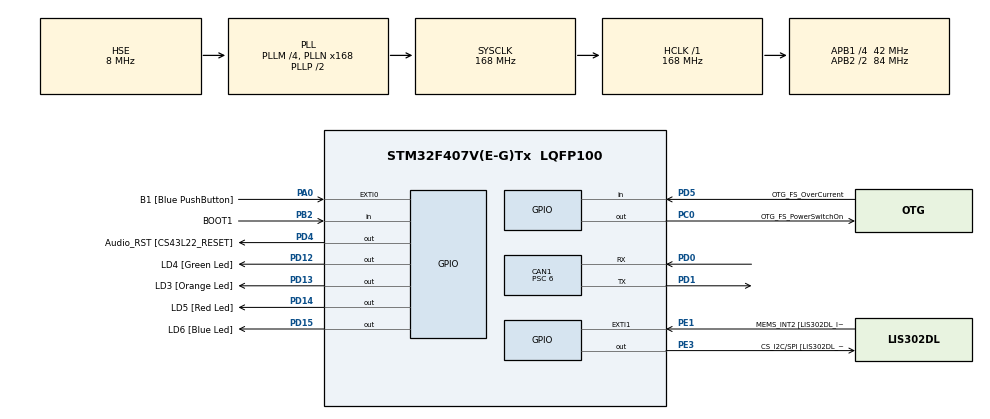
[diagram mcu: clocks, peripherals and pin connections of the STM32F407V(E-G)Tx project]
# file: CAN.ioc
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CAN1.BS1=CAN_BS1_7TQ
CAN1.BS2=CAN_BS2_6TQ
CAN1.CalculateBaudRate=500000
CAN1.CalculateTimeBit=2000
CAN1.CalculateTimeQuantum=142.85714285714286
CAN1.Prescaler=6
Mcu.Family=STM32F4
Mcu.Name=STM32F407V(E-G)Tx
Mcu.Package=LQFP100
NVIC.CAN1_RX0_IRQn=true\:0\:0\:false\:false\:true\:true\:true\:true
NVIC.PriorityGroup=NVIC_PRIORITYGROUP_0
PA0-WKUP.GPIO_Label=B1 [Blue PushButton]
PA0-WKUP.Signal=GPXTI0
PA10.GPIO_Label=OTG_FS_ID
PA10.GPIO_Mode=GPIO_MODE_AF_PP
PA10.GPIO_PuPd=GPIO_NOPULL
PA10.GPIO_Speed=GPIO_SPEED_FREQ_LOW
PA10.Signal=USB_OTG_FS_ID
PA11.GPIO_Label=OTG_FS_DM
PA11.GPIO_Mode=GPIO_MODE_AF_PP
PA11.GPIO_PuPd=GPIO_NOPULL
PA11.GPIO_Speed=GPIO_SPEED_FREQ_LOW
PA11.Signal=USB_OTG_FS_DM
PA12.GPIO_Label=OTG_FS_DP
PA12.GPIO_Mode=GPIO_MODE_AF_PP
PA12.GPIO_PuPd=GPIO_NOPULL
PA12.GPIO_Speed=GPIO_SPEED_FREQ_LOW
PA12.Signal=USB_OTG_FS_DP
PA13.GPIO_Label=SWDIO
PA13.Signal=SYS_JTMS-SWDIO
PA14.GPIO_Label=SWCLK
PA14.Signal=SYS_JTCK-SWCLK
PA4.GPIO_Label=I2S3_WS [CS43L22_LRCK]
PA4.GPIO_Mode=GPIO_MODE_AF_PP
PA4.GPIO_PuPd=GPIO_NOPULL
PA4.GPIO_Speed=GPIO_SPEED_FREQ_LOW
PA4.Signal=I2S3_WS
PA5.GPIO_Label=SPI1_SCK [LIS302DL_SCL/SPC]
PA5.GPIO_Mode=GPIO_MODE_AF_PP
PA5.GPIO_PuPd=GPIO_NOPULL
PA5.GPIO_Speed=GPIO_SPEED_FREQ_LOW
PA5.Signal=SPI1_SCK
PA6.GPIO_Label=SPI1_MISO [LIS302DL_SDO]
PA6.GPIO_Mode=GPIO_MODE_AF_PP
PA6.GPIO_PuPd=GPIO_NOPULL
PA6.GPIO_Speed=GPIO_SPEED_FREQ_LOW
PA6.Signal=SPI1_MISO
PA7.GPIO_Label=SPI1_MOSI [LIS302DL_SDA/SDI/SDO]
PA7.GPIO_Mode=GPIO_MODE_AF_PP
PA7.GPIO_PuPd=GPIO_NOPULL
PA7.GPIO_Speed=GPIO_SPEED_FREQ_LOW
PA7.Signal=SPI1_MOSI
PA9.GPIO_Label=VBUS_FS
PA9.GPIO_Mode=GPIO_MODE_INPUT
PA9.GPIO_PuPd=GPIO_NOPULL
PA9.Signal=USB_OTG_FS_VBUS
PB10.GPIO_Label=CLK_IN [MP45DT02_CLK]
PB10.GPIO_Mode=GPIO_MODE_AF_PP
PB10.GPIO_PuPd=GPIO_NOPULL
PB10.GPIO_Speed=GPIO_SPEED_FREQ_LOW
PB10.Signal=I2S2_CK
PB2.GPIO_Label=BOOT1
PB2.GPIO_Mode=GPIO_MODE_INPUT
PB2.GPIO_PuPd=GPIO_NOPULL
PB2.Signal=GPIO_Input
PB3.GPIO_Label=SWO
PB3.Signal=SYS_JTDO-SWO
PB6.GPIO_Label=Audio_SCL [CS43L22_SCL]
PB6.GPIO_Mode=GPIO_MODE_AF_OD
PB6.GPIO_PuPd=GPIO_NOPULL
PB6.GPIO_Speed=GPIO_SPEED_FREQ_LOW
PB6.Signal=I2C1_SCL
PB9.GPIO_Label=Audio_SDA [CS43L22_SDA]
PB9.GPIO_Mode=GPIO_MODE_AF_OD
PB9.GPIO_PuPd=GPIO_NOPULL
PB9.GPIO_Speed=GPIO_SPEED_FREQ_LOW
PB9.Signal=I2C1_SDA
PC0.GPIO_Label=OTG_FS_PowerSwitchOn
PC0.GPIO_PuPd=GPIO_NOPULL
PC0.GPIO_Speed=GPIO_SPEED_FREQ_LOW
PC0.PinState=GPIO_PIN_SET
PC0.Signal=GPIO_Output
PC10.GPIO_Label=I2S3_SCK [CS43L22_SCLK]
PC10.GPIO_Mode=GPIO_MODE_AF_PP
PC10.GPIO_PuPd=GPIO_NOPULL
PC10.GPIO_Speed=GPIO_SPEED_FREQ_LOW
PC10.Signal=I2S3_CK
PC12.GPIO_Label=I2S3_SD [CS43L22_SDIN]
PC12.GPIO_Mode=GPIO_MODE_AF_PP
PC12.GPIO_PuPd=GPIO_NOPULL
PC12.GPIO_Speed=GPIO_SPEED_FREQ_LOW
PC12.Signal=I2S3_SD
PC14-OSC32_IN.GPIO_Label=PC14-OSC32_IN
PC14-OSC32_IN.Signal=RCC_OSC32_IN
PC15-OSC32_OUT.GPIO_Label=PC15-OSC32_OUT
PC15-OSC32_OUT.Signal=RCC_OSC32_OUT
PC3.GPIO_Label=PDM_OUT [MP45DT02_DOUT]
PC3.GPIO_Mode=GPIO_MODE_AF_PP
PC3.GPIO_PuPd=GPIO_NOPULL
PC3.GPIO_Speed=GPIO_SPEED_FREQ_LOW
PC3.Signal=I2S2_SD
PC7.GPIO_Label=I2S3_MCK [CS43L22_MCLK]
PC7.GPIO_Mode=GPIO_MODE_AF_PP
PC7.GPIO_PuPd=GPIO_NOPULL
PC7.GPIO_Speed=GPIO_SPEED_FREQ_LOW
PC7.Signal=I2S3_MCK
PD0.Mode=CAN_Activate
PD0.Signal=CAN1_RX
PD1.Mode=CAN_Activate
PD1.Signal=CAN1_TX
PD12.GPIO_Label=LD4 [Green Led]
PD12.GPIO_PuPd=GPIO_NOPULL
PD12.GPIO_Speed=GPIO_SPEED_FREQ_LOW
PD12.Signal=GPIO_Output
PD13.GPIO_Label=LD3 [Orange Led]
PD13.GPIO_PuPd=GPIO_NOPULL
PD13.GPIO_Speed=GPIO_SPEED_FREQ_LOW
PD13.Signal=GPIO_Output
PD14.GPIO_Label=LD5 [Red Led]
PD14.GPIO_PuPd=GPIO_NOPULL
PD14.GPIO_Speed=GPIO_SPEED_FREQ_LOW
PD14.Signal=GPIO_Output
PD15.GPIO_Label=LD6 [Blue Led]
PD15.GPIO_PuPd=GPIO_NOPULL
PD15.GPIO_Speed=GPIO_SPEED_FREQ_LOW
PD15.Signal=GPIO_Output
PD4.GPIO_Label=Audio_RST [CS43L22_RESET]
PD4.GPIO_PuPd=GPIO_NOPULL
PD4.GPIO_Speed=GPIO_SPEED_FREQ_LOW
PD4.Signal=GPIO_Output
PD5.GPIO_Label=OTG_FS_OverCurrent
PD5.GPIO_Mode=GPIO_MODE_INPUT
PD5.GPIO_PuPd=GPIO_NOPULL
PD5.Signal=GPIO_Input
PE1.GPIO_Label=MEMS_INT2 [LIS302DL_INT2]
PE1.GPIO_ModeDefaultEXTI=GPIO_MODE_EVT_RISING
PE1.GPIO_PuPd=GPIO_NOPULL
PE1.Signal=GPXTI1
PE3.GPIO_Label=CS_I2C/SPI [LIS302DL_CS_I2C/SPI]
PE3.GPIO_PuPd=GPIO_NOPULL
PE3.GPIO_Speed=GPIO_SPEED_FREQ_LOW
PE3.Signal=GPIO_Output
PH0-OSC_IN.GPIO_Label=PH0-OSC_IN
PH0-OSC_IN.Mode=HSE-External-Oscillator
PH0-OSC_IN.Signal=RCC_OSC_IN
PH1-OSC_OUT.GPIO_Label=PH1-OSC_OUT
PH1-OSC_OUT.Mode=HSE-External-Oscillator
PH1-OSC_OUT.Signal=RCC_OSC_OUT
ProjectManager.HeapSize=0x200
ProjectManager.StackSize=0x400
ProjectManager.TargetToolchain=MDK-ARM V5.32
RCC.48MHZClocksFreq_Value=48000000
RCC.AHBFreq_Value=168000000
RCC.APB1CLKDivider=RCC_HCLK_DIV4
RCC.APB1Freq_Value=42000000
RCC.APB1TimFreq_Value=84000000
RCC.APB2CLKDivider=RCC_HCLK_DIV2
RCC.APB2Freq_Value=84000000
RCC.APB2TimFreq_Value=168000000
RCC.CortexFreq_Value=168000000
RCC.HCLKFreq_Value=168000000
RCC.HSE_VALUE=8000000
RCC.HSI_VALUE=16000000
RCC.LSE_VALUE=32768
RCC.PLLM=4
RCC.PLLN=168
RCC.PLLQ=7
RCC.PLLSourceVirtual=RCC_PLLSOURCE_HSE
RCC.SYSCLKFreq_VALUE=168000000
RCC.SYSCLKSource=RCC_SYSCLKSOURCE_PLLCLK
RCC.VCOOutputFreq_Value=336000000
board=STM32F407G-DISC1

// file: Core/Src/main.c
/* USER CODE BEGIN Header */
/**
  ******************************************************************************
  * @file           : main.c
  * @brief          : Main program body
  ******************************************************************************
  * @attention
  *
  * Copyright (c) 2024 STMicroelectronics.
  * All rights reserved.
  *
  * This software is licensed under terms that can be found in the LICENSE file
  * in the root directory of this software component.
  * If no LICENSE file comes with this software, it is provided AS-IS.
  *
  ******************************************************************************
  */
/* USER CODE END Header */
#include "main.h"

CAN_HandleTypeDef hcan1;

void SystemClock_Config(void);
static void MX_GPIO_Init(void);
static void MX_CAN1_Init(void);
/* USER CODE BEGIN PFP */
void ADC_Init(void);
void ADC_Enable (void);
void ADC_Start (int channel);
void ADC_WaitForConv(void);
/* USER CODE END PFP */

/* USER CODE BEGIN 0 */
CAN_TxHeaderTypeDef TxMessage;
CAN_RxHeaderTypeDef RxMessage;

uint8_t TxData[8];
uint8_t RxData[8];

uint32_t TxMailbox;

void ADC_Init (void)
{
	/************** STEPS TO FOLLOW *****************
	1. Enable ADC and GPIO clock
	2. Set the prescalar in the Common Control Register (CCR)
	3. Set the Scan Mode and Resolution in the Control Register 1 (CR1)
	4. Set the Continuous Conversion, EOC, and Data Alignment in Control Reg 2 (CR2)
	5. Set the Sampling Time for the channels in ADC_SMPRx
	6. Set the Regular channel sequence length in ADC_SQR1
	7. Set the Respective GPIO PINs in the Analog Mode
	************************************************/

//1. Enable ADC and GPIO clock
	RCC->APB2ENR |= (1<<8);  // enable ADC1 clock
	RCC->AHB1ENR |= (1<<0);  // enable GPIOA clock

//2. Set the prescalar in the Common Control Register (CCR)
	ADC->CCR |= 1<<16;  		 // PCLK2 divide by 4

//3. Set the Scan Mode and Resolution in the Control Register 1 (CR1)
	ADC1->CR1 = (1<<8);    // SCAN mode enabled
	ADC1->CR1 &= ~(1<<24);   // 12 bit RES

//4. Set the Continuous Conversion, EOC, and Data Alignment in Control Reg 2 (CR2)
	ADC1->CR2 |= (1<<1);     // enable continuous conversion mode
	ADC1->CR2 |= (1<<10);    // EOC after each conversion
	ADC1->CR2 &= ~(1<<11);   // Data Alignment RIGHT

//5. Set the Sampling Time for the channels
	ADC1->SMPR2 &= ~((1<<3));  // Sampling time of 3 cycles for channel 1
//	ADC1->SMPR2 &= ~((1<<3) | (1<<12));  // Sampling time of 3 cycles for channel 1 and channel 4

//6. Set the Regular channel sequence length in ADC_SQR1
	ADC1->SQR1 |= (1<<20);   // SQR1_L =1 for 2 conversions

//7. Set the Respective GPIO PINs in the Analog Mode
	GPIOA->MODER |= (3<<2);  // analog mode for PA 1 (chennel 1)
//	GPIOA->MODER |= (3<<8);  // analog mode for PA 4 (channel 4)
}

void ADC_Enable (void)
{
	/************** STEPS TO FOLLOW *****************
	1. Enable the ADC by setting ADON bit in CR2
	2. Wait for ADC to stabilize (approx 10us)
	************************************************/
	ADC1->CR2 |= 1<<0;   // ADON =1 enable ADC1

	uint32_t delay = 10000;
	while (delay--);
}

void ADC_Start (int channel)
{
	/************** STEPS TO FOLLOW *****************
	1. Set the channel Sequence in the SQR Register
	2. Clear the Status register
	3. Start the Conversion by Setting the SWSTART bit in CR2
	************************************************/

/**	Since we will be polling for each channel, here we will keep one channel in the sequence at a time
		ADC1->SQR3 |= (channel<<0); will just keep the respective channel in the sequence for the conversion **/

	ADC1->SQR3 = 0;
	ADC1->SQR3 |= (channel<<0);    // conversion in regular sequence

	ADC1->SR = 0;        // clear the status register

	ADC1->CR2 |= (1<<30);  // start the conversion
}

void ADC_WaitForConv (void)
{
	/*************************************************
	EOC Flag will be set, once the conversion is finished
	*************************************************/
	while (!(ADC1->SR & (1<<1)));  // wait for EOC flag to set
}

uint16_t ADC_GetVal (void)
{
	return ADC1->DR;  // Read the Data Register
}

uint16_t ADC_VAL[2] = {0,0};

/* USER CODE END 0 */

int main(void)
{

  /* MCU Configuration--------------------------------------------------------*/

  /* Reset of all peripherals, Initializes the Flash interface and the Systick. */
  HAL_Init();

  /* Configure the system clock */
  SystemClock_Config();

  /* Initialize all configured peripherals */
  MX_GPIO_Init();
  MX_CAN1_Init();
  /* USER CODE BEGIN 2 */
	ADC_Init ();
	ADC_Enable ();

	HAL_CAN_Start(&hcan1);

	HAL_CAN_ActivateNotification(&hcan1,CAN_IT_RX_FIFO0_MSG_PENDING);

	TxMessage.DLC = 3;
	TxMessage.IDE = CAN_ID_STD;
	TxMessage.RTR = CAN_RTR_DATA;
	TxMessage.StdId = 0x85;

//	TxData[0] = 42;
//	TxData[1] = 150;
//	TxData[2] = 81;
//	TxData[3] = 98;
//	TxData[4] = 178;
//	HAL_CAN_AddTxMessage(&hcan1,&TxMessage, TxData, &TxMailbox);
  /* USER CODE END 2 */

  /* Infinite loop */
  while (1)
  {
		ADC_Start (1);
		ADC_WaitForConv ();
		ADC_VAL[0] = ADC_GetVal();
		TxData[0] = ADC_VAL[0] >> 8;
		TxData[1] = ADC_VAL[0] & 0xFF;
		TxData[2] = 00;
		HAL_CAN_AddTxMessage(&hcan1,&TxMessage, TxData, &TxMailbox);
		HAL_Delay(1000);
  }
}

void SystemClock_Config(void)
{
  RCC_OscInitTypeDef RCC_OscInitStruct = {0};
  RCC_ClkInitTypeDef RCC_ClkInitStruct = {0};

  /** Configure the main internal regulator output voltage
  */
  __HAL_RCC_PWR_CLK_ENABLE();
  __HAL_PWR_VOLTAGESCALING_CONFIG(PWR_REGULATOR_VOLTAGE_SCALE1);

  /** Initializes the RCC Oscillators according to the specified parameters
  * in the RCC_OscInitTypeDef structure.
  */
  RCC_OscInitStruct.OscillatorType = RCC_OSCILLATORTYPE_HSE;
  RCC_OscInitStruct.HSEState = RCC_HSE_ON;
  RCC_OscInitStruct.PLL.PLLState = RCC_PLL_ON;
  RCC_OscInitStruct.PLL.PLLSource = RCC_PLLSOURCE_HSE;
  RCC_OscInitStruct.PLL.PLLM = 4;
  RCC_OscInitStruct.PLL.PLLN = 168;
  RCC_OscInitStruct.PLL.PLLP = RCC_PLLP_DIV2;
  RCC_OscInitStruct.PLL.PLLQ = 7;
  if (HAL_RCC_OscConfig(&RCC_OscInitStruct) != HAL_OK)
  {
    Error_Handler();
  }

  /** Initializes the CPU, AHB and APB buses clocks
  */
  RCC_ClkInitStruct.ClockType = RCC_CLOCKTYPE_HCLK|RCC_CLOCKTYPE_SYSCLK
                              |RCC_CLOCKTYPE_PCLK1|RCC_CLOCKTYPE_PCLK2;
  RCC_ClkInitStruct.SYSCLKSource = RCC_SYSCLKSOURCE_PLLCLK;
  RCC_ClkInitStruct.AHBCLKDivider = RCC_SYSCLK_DIV1;
  RCC_ClkInitStruct.APB1CLKDivider = RCC_HCLK_DIV4;
  RCC_ClkInitStruct.APB2CLKDivider = RCC_HCLK_DIV2;

  if (HAL_RCC_ClockConfig(&RCC_ClkInitStruct, FLASH_LATENCY_5) != HAL_OK)
  {
    Error_Handler();
  }
}

static void MX_CAN1_Init(void)
{

  hcan1.Instance = CAN1;
  hcan1.Init.Prescaler = 6;
  hcan1.Init.Mode = CAN_MODE_NORMAL;
  hcan1.Init.SyncJumpWidth = CAN_SJW_1TQ;
  hcan1.Init.TimeSeg1 = CAN_BS1_7TQ;
  hcan1.Init.TimeSeg2 = CAN_BS2_6TQ;
  hcan1.Init.TimeTriggeredMode = DISABLE;
  hcan1.Init.AutoBusOff = DISABLE;
  hcan1.Init.AutoWakeUp = DISABLE;
  hcan1.Init.AutoRetransmission = DISABLE;
  hcan1.Init.ReceiveFifoLocked = DISABLE;
  hcan1.Init.TransmitFifoPriority = DISABLE;
  if (HAL_CAN_Init(&hcan1) != HAL_OK)
  {
    Error_Handler();
  }

}

static void MX_GPIO_Init(void)
{
  GPIO_InitTypeDef GPIO_InitStruct = {0};

  /* GPIO Ports Clock Enable */
  __HAL_RCC_GPIOE_CLK_ENABLE();
  __HAL_RCC_GPIOC_CLK_ENABLE();
  __HAL_RCC_GPIOH_CLK_ENABLE();
  __HAL_RCC_GPIOA_CLK_ENABLE();
  __HAL_RCC_GPIOB_CLK_ENABLE();
  __HAL_RCC_GPIOD_CLK_ENABLE();

  /*Configure GPIO pin Output Level */
  HAL_GPIO_WritePin(CS_I2C_SPI_GPIO_Port, CS_I2C_SPI_Pin, GPIO_PIN_RESET);

  /*Configure GPIO pin Output Level */
  HAL_GPIO_WritePin(OTG_FS_PowerSwitchOn_GPIO_Port, OTG_FS_PowerSwitchOn_Pin, GPIO_PIN_SET);

  /*Configure GPIO pin Output Level */
  HAL_GPIO_WritePin(GPIOD, LD4_Pin|LD3_Pin|LD5_Pin|LD6_Pin
                          |Audio_RST_Pin, GPIO_PIN_RESET);

  /*Configure GPIO pin : CS_I2C_SPI_Pin */
  GPIO_InitStruct.Pin = CS_I2C_SPI_Pin;
  GPIO_InitStruct.Mode = GPIO_MODE_OUTPUT_PP;
  GPIO_InitStruct.Pull = GPIO_NOPULL;
  GPIO_InitStruct.Speed = GPIO_SPEED_FREQ_LOW;
  HAL_GPIO_Init(CS_I2C_SPI_GPIO_Port, &GPIO_InitStruct);

  /*Configure GPIO pin : OTG_FS_PowerSwitchOn_Pin */
  GPIO_InitStruct.Pin = OTG_FS_PowerSwitchOn_Pin;
  GPIO_InitStruct.Mode = GPIO_MODE_OUTPUT_PP;
  GPIO_InitStruct.Pull = GPIO_NOPULL;
  GPIO_InitStruct.Speed = GPIO_SPEED_FREQ_LOW;
  HAL_GPIO_Init(OTG_FS_PowerSwitchOn_GPIO_Port, &GPIO_InitStruct);

  /*Configure GPIO pin : PDM_OUT_Pin */
  GPIO_InitStruct.Pin = PDM_OUT_Pin;
  GPIO_InitStruct.Mode = GPIO_MODE_AF_PP;
  GPIO_InitStruct.Pull = GPIO_NOPULL;
  GPIO_InitStruct.Speed = GPIO_SPEED_FREQ_LOW;
  GPIO_InitStruct.Alternate = GPIO_AF5_SPI2;
  HAL_GPIO_Init(PDM_OUT_GPIO_Port, &GPIO_InitStruct);

  /*Configure GPIO pin : B1_Pin */
  GPIO_InitStruct.Pin = B1_Pin;
  GPIO_InitStruct.Mode = GPIO_MODE_IT_RISING;
  GPIO_InitStruct.Pull = GPIO_NOPULL;
  HAL_GPIO_Init(B1_GPIO_Port, &GPIO_InitStruct);

  /*Configure GPIO pin : I2S3_WS_Pin */
  GPIO_InitStruct.Pin = I2S3_WS_Pin;
  GPIO_InitStruct.Mode = GPIO_MODE_AF_PP;
  GPIO_InitStruct.Pull = GPIO_NOPULL;
  GPIO_InitStruct.Speed = GPIO_SPEED_FREQ_LOW;
  GPIO_InitStruct.Alternate = GPIO_AF6_SPI3;
  HAL_GPIO_Init(I2S3_WS_GPIO_Port, &GPIO_InitStruct);

  /*Configure GPIO pins : SPI1_SCK_Pin SPI1_MISO_Pin SPI1_MOSI_Pin */
  GPIO_InitStruct.Pin = SPI1_SCK_Pin|SPI1_MISO_Pin|SPI1_MOSI_Pin;
  GPIO_InitStruct.Mode = GPIO_MODE_AF_PP;
  GPIO_InitStruct.Pull = GPIO_NOPULL;
  GPIO_InitStruct.Speed = GPIO_SPEED_FREQ_LOW;
  GPIO_InitStruct.Alternate = GPIO_AF5_SPI1;
  HAL_GPIO_Init(GPIOA, &GPIO_InitStruct);

  /*Configure GPIO pin : BOOT1_Pin */
  GPIO_InitStruct.Pin = BOOT1_Pin;
  GPIO_InitStruct.Mode = GPIO_MODE_INPUT;
  GPIO_InitStruct.Pull = GPIO_NOPULL;
  HAL_GPIO_Init(BOOT1_GPIO_Port, &GPIO_InitStruct);

  /*Configure GPIO pin : CLK_IN_Pin */
  GPIO_InitStruct.Pin = CLK_IN_Pin;
  GPIO_InitStruct.Mode = GPIO_MODE_AF_PP;
  GPIO_InitStruct.Pull = GPIO_NOPULL;
  GPIO_InitStruct.Speed = GPIO_SPEED_FREQ_LOW;
  GPIO_InitStruct.Alternate = GPIO_AF5_SPI2;
  HAL_GPIO_Init(CLK_IN_GPIO_Port, &GPIO_InitStruct);

  /*Configure GPIO pins : LD4_Pin LD3_Pin LD5_Pin LD6_Pin
                           Audio_RST_Pin */
  GPIO_InitStruct.Pin = LD4_Pin|LD3_Pin|LD5_Pin|LD6_Pin
                          |Audio_RST_Pin;
  GPIO_InitStruct.Mode = GPIO_MODE_OUTPUT_PP;
  GPIO_InitStruct.Pull = GPIO_NOPULL;
  GPIO_InitStruct.Speed = GPIO_SPEED_FREQ_LOW;
  HAL_GPIO_Init(GPIOD, &GPIO_InitStruct);

  /*Configure GPIO pins : I2S3_MCK_Pin I2S3_SCK_Pin I2S3_SD_Pin */
  GPIO_InitStruct.Pin = I2S3_MCK_Pin|I2S3_SCK_Pin|I2S3_SD_Pin;
  GPIO_InitStruct.Mode = GPIO_MODE_AF_PP;
  GPIO_InitStruct.Pull = GPIO_NOPULL;
  GPIO_InitStruct.Speed = GPIO_SPEED_FREQ_LOW;
  GPIO_InitStruct.Alternate = GPIO_AF6_SPI3;
  HAL_GPIO_Init(GPIOC, &GPIO_InitStruct);

  /*Configure GPIO pin : VBUS_FS_Pin */
  GPIO_InitStruct.Pin = VBUS_FS_Pin;
  GPIO_InitStruct.Mode = GPIO_MODE_INPUT;
  GPIO_InitStruct.Pull = GPIO_NOPULL;
  HAL_GPIO_Init(VBUS_FS_GPIO_Port, &GPIO_InitStruct);

  /*Configure GPIO pins : OTG_FS_ID_Pin OTG_FS_DM_Pin OTG_FS_DP_Pin */
  GPIO_InitStruct.Pin = OTG_FS_ID_Pin|OTG_FS_DM_Pin|OTG_FS_DP_Pin;
  GPIO_InitStruct.Mode = GPIO_MODE_AF_PP;
  GPIO_InitStruct.Pull = GPIO_NOPULL;
  GPIO_InitStruct.Speed = GPIO_SPEED_FREQ_LOW;
  GPIO_InitStruct.Alternate = GPIO_AF10_OTG_FS;
  HAL_GPIO_Init(GPIOA, &GPIO_InitStruct);

  /*Configure GPIO pin : OTG_FS_OverCurrent_Pin */
  GPIO_InitStruct.Pin = OTG_FS_OverCurrent_Pin;
  GPIO_InitStruct.Mode = GPIO_MODE_INPUT;
  GPIO_InitStruct.Pull = GPIO_NOPULL;
  HAL_GPIO_Init(OTG_FS_OverCurrent_GPIO_Port, &GPIO_InitStruct);

  /*Configure GPIO pins : Audio_SCL_Pin Audio_SDA_Pin */
  GPIO_InitStruct.Pin = Audio_SCL_Pin|Audio_SDA_Pin;
  GPIO_InitStruct.Mode = GPIO_MODE_AF_OD;
  GPIO_InitStruct.Pull = GPIO_NOPULL;
  GPIO_InitStruct.Speed = GPIO_SPEED_FREQ_LOW;
  GPIO_InitStruct.Alternate = GPIO_AF4_I2C1;
  HAL_GPIO_Init(GPIOB, &GPIO_InitStruct);

  /*Configure GPIO pin : MEMS_INT2_Pin */
  GPIO_InitStruct.Pin = MEMS_INT2_Pin;
  GPIO_InitStruct.Mode = GPIO_MODE_EVT_RISING;
  GPIO_InitStruct.Pull = GPIO_NOPULL;
  HAL_GPIO_Init(MEMS_INT2_GPIO_Port, &GPIO_InitStruct);

}

void Error_Handler(void)
{
  __disable_irq();
  while (1)
  {
  }
}
